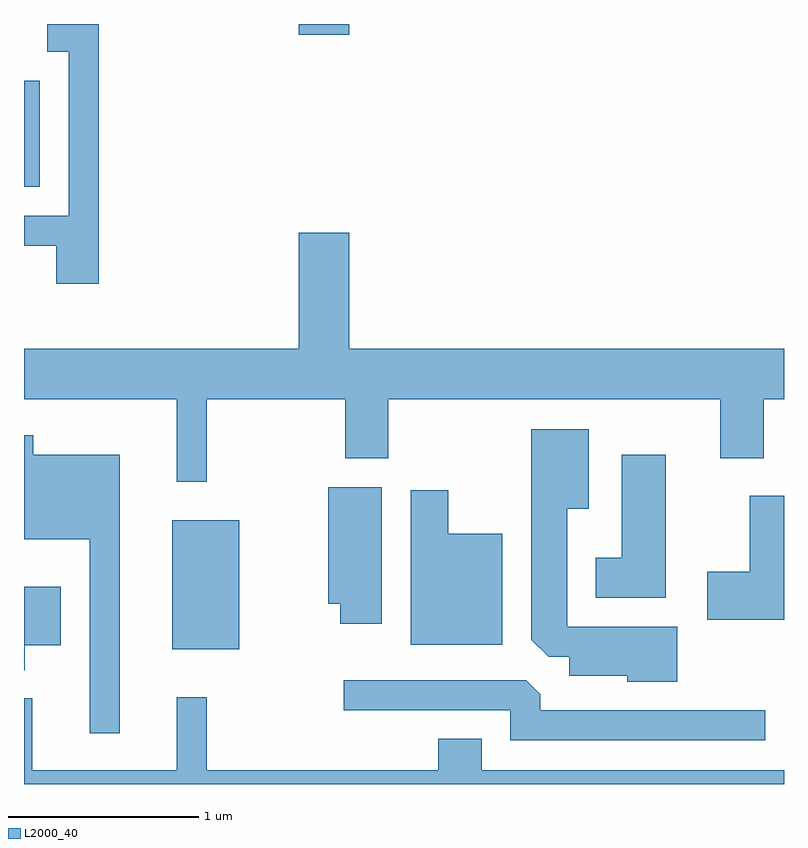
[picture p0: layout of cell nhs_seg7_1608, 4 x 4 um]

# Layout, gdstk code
import gdstk
lib = gdstk.Library(unit=1e-6, precision=1e-09)
def R(c, l, rs):  # rectangles x0, y0, x1, y1
    for r in rs: c.add(gdstk.rectangle(r[:2], r[2:], *l))
def P(c, l, *ps):  # polygons
    for p in ps: c.add(gdstk.Polygon(p, *l))
L2000_40 = (2000, 40)

nhs_seg7_1608 = lib.new_cell('nhs_seg7_1608')
R(nhs_seg7_1608, L2000_40, [(234.391,1752.961,234.744,1753.639), (233.611,1755.396,233.694,1755.954), (235.056,1756.196,235.324,1756.252)])
P(nhs_seg7_1608, L2000_40, [(234.004,1756.252),(233.733,1756.252),(233.733,1756.106),(233.846,1756.106),(233.846,1755.244),(233.611,1755.244),(233.611,1755.086),(233.781,1755.086),(233.781,1754.886),(234.004,1754.886)],
  [(234.574,1754.276),(235.301,1754.276),(235.301,1753.966),(235.529,1753.966),(235.529,1754.276),(237.276,1754.276),(237.276,1753.966),(237.504,1753.966),(237.504,1754.276),(237.611,1754.276),(237.611,1754.544),(235.324,1754.544),(235.324,1755.154),(235.056,1755.154),(235.056,1754.544),(233.611,1754.544),(233.611,1754.276),(234.416,1754.276),(234.416,1753.843),(234.574,1753.843)],
  [(237.049,1753.079),(236.469,1753.079),(236.469,1753.701),(236.584,1753.701),(236.584,1754.119),(236.281,1754.119),(236.281,1753.012),(236.372,1752.921),(236.481,1752.921),(236.481,1752.821),(236.786,1752.821),(236.786,1752.791),(237.049,1752.791)],
  [(234.114,1753.984),(233.659,1753.984),(233.659,1754.088),(233.611,1754.088),(233.611,1753.541),(233.956,1753.541),(233.956,1752.518),(234.114,1752.518)],
  [(236.989,1753.984),(236.756,1753.984),(236.756,1753.444),(236.621,1753.444),(236.621,1753.231),(236.989,1753.231)],
  [(235.494,1753.814),(235.211,1753.814),(235.211,1753.201),(235.276,1753.201),(235.276,1753.096),(235.494,1753.096)],
  [(236.129,1753.569),(235.844,1753.569),(235.844,1753.799),(235.646,1753.799),(235.646,1752.986),(236.129,1752.986)],
  [(237.611,1753.769),(237.431,1753.769),(237.431,1753.369),(237.206,1753.369),(237.206,1753.116),(237.611,1753.116)],
  [(233.614,1752.981),(233.804,1752.981),(233.804,1753.289),(233.611,1753.289),(233.611,1752.851),(233.614,1752.851)],
  [(237.513,1752.639),(236.329,1752.639),(236.329,1752.724),(236.254,1752.799),(235.293,1752.799),(235.293,1752.641),(236.171,1752.641),(236.171,1752.481),(237.513,1752.481)],
  [(237.611,1752.324),(236.019,1752.324),(236.019,1752.489),(235.791,1752.489),(235.791,1752.324),(234.574,1752.324),(234.574,1752.708),(234.416,1752.708),(234.416,1752.324),(233.654,1752.324),(233.654,1752.703),(233.611,1752.703),(233.611,1752.252),(237.611,1752.252)])

lib.write_gds('nhs_seg7_1608.gds')
